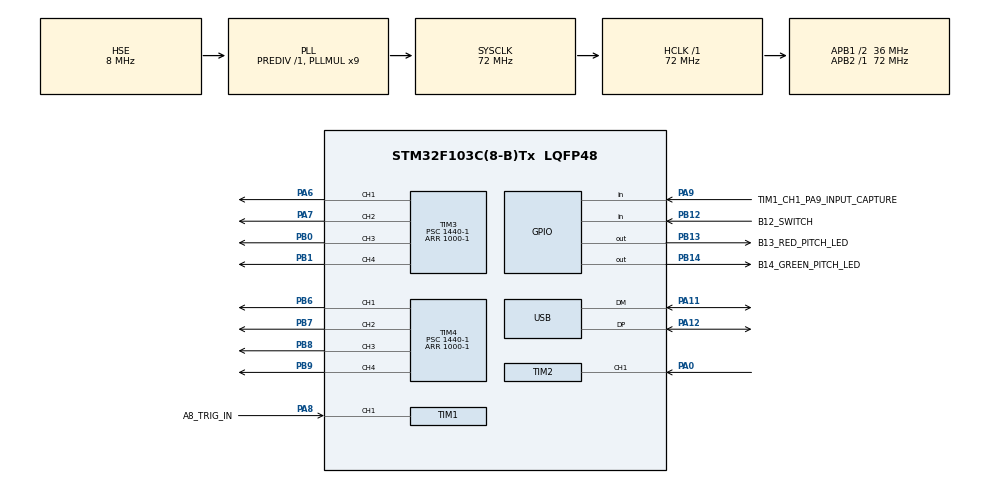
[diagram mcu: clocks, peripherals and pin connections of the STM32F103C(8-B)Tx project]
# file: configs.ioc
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Mcu.Family=STM32F1
Mcu.Name=STM32F103C(8-B)Tx
Mcu.Package=LQFP48
NVIC.PriorityGroup=NVIC_PRIORITYGROUP_4
NVIC.RCC_IRQn=true\:0\:0\:false\:false\:true\:true\:false\:true
NVIC.TIM1_BRK_IRQn=true\:0\:0\:false\:false\:true\:true\:true\:true
NVIC.TIM1_CC_IRQn=true\:0\:0\:false\:false\:true\:true\:true\:true
NVIC.TIM1_TRG_COM_IRQn=true\:0\:0\:false\:false\:true\:true\:true\:true
NVIC.TIM1_UP_IRQn=true\:0\:0\:false\:false\:true\:true\:true\:true
NVIC.TIM2_IRQn=true\:0\:0\:false\:false\:true\:true\:true\:true
NVIC.TIM3_IRQn=true\:0\:0\:false\:false\:true\:true\:true\:true
NVIC.TIM4_IRQn=true\:0\:0\:false\:false\:true\:true\:true\:true
NVIC.USB_HP_CAN1_TX_IRQn=true\:0\:0\:false\:false\:true\:true\:true\:true
NVIC.USB_LP_CAN1_RX0_IRQn=true\:0\:0\:false\:false\:true\:true\:true\:true
PA0-WKUP.Signal=S_TIM2_CH1_ETR
PA11.Mode=Device
PA11.Signal=USB_DM
PA12.Mode=Device
PA12.Signal=USB_DP
PA13.Mode=Serial_Wire
PA13.Signal=SYS_JTMS-SWDIO
PA14.Mode=Serial_Wire
PA14.Signal=SYS_JTCK-SWCLK
PA6.Signal=S_TIM3_CH1
PA7.Signal=S_TIM3_CH2
PA8.GPIO_Label=A8_TRIG_IN
PA8.Signal=S_TIM1_CH1
PA9.GPIO_Label=TIM1_CH1_PA9_INPUT_CAPTURE
PA9.Signal=GPIO_Input
PB0.Signal=S_TIM3_CH3
PB1.Signal=S_TIM3_CH4
PB12.GPIO_Label=B12_SWITCH
PB12.GPIO_PuPd=GPIO_PULLUP
PB12.Signal=GPIO_Input
PB13.GPIO_Label=B13_RED_PITCH_LED
PB13.Signal=GPIO_Output
PB14.GPIO_Label=B14_GREEN_PITCH_LED
PB14.Signal=GPIO_Output
PB6.Signal=S_TIM4_CH1
PB7.Signal=S_TIM4_CH2
PB8.Signal=S_TIM4_CH3
PB9.Signal=S_TIM4_CH4
PD0-OSC_IN.Mode=HSE-External-Oscillator
PD0-OSC_IN.Signal=RCC_OSC_IN
PD1-OSC_OUT.Mode=HSE-External-Oscillator
PD1-OSC_OUT.Signal=RCC_OSC_OUT
ProjectManager.HeapSize=0x200
ProjectManager.StackSize=0x400
ProjectManager.TargetToolchain=STM32CubeIDE
RCC.AHBFreq_Value=72000000
RCC.APB1CLKDivider=RCC_HCLK_DIV2
RCC.APB1Freq_Value=36000000
RCC.APB1TimFreq_Value=72000000
RCC.APB2Freq_Value=72000000
RCC.APB2TimFreq_Value=72000000
RCC.HCLKFreq_Value=72000000
RCC.PLLMUL=RCC_PLL_MUL9
RCC.PLLSourceVirtual=RCC_PLLSOURCE_HSE
RCC.SYSCLKFreq_VALUE=72000000
RCC.SYSCLKSource=RCC_SYSCLKSOURCE_PLLCLK
RCC.USBFreq_Value=48000000
RCC.USBPrescaler=RCC_USBCLKSOURCE_PLL_DIV1_5
SH.S_TIM1_CH1.0=TIM1_CH1,Input_Capture1_from_TI1
SH.S_TIM2_CH1_ETR.0=TIM2_CH1,Input_Capture1_from_TI1
SH.S_TIM3_CH1.0=TIM3_CH1,PWM Generation1 CH1
SH.S_TIM3_CH2.0=TIM3_CH2,PWM Generation2 CH2
SH.S_TIM3_CH3.0=TIM3_CH3,PWM Generation3 CH3
SH.S_TIM3_CH4.0=TIM3_CH4,PWM Generation4 CH4
SH.S_TIM4_CH1.0=TIM4_CH1,PWM Generation1 CH1
SH.S_TIM4_CH2.0=TIM4_CH2,PWM Generation2 CH2
SH.S_TIM4_CH3.0=TIM4_CH3,PWM Generation3 CH3
SH.S_TIM4_CH4.0=TIM4_CH4,PWM Generation4 CH4
TIM1.Channel-Input_Capture1_from_TI1=TIM_CHANNEL_1
TIM1.Period=65536-1
TIM1.Prescaler=0
TIM2.AutoReloadPreload=TIM_AUTORELOAD_PRELOAD_DISABLE
TIM2.Channel-Input_Capture1_from_TI1=TIM_CHANNEL_1
TIM2.Period=65536-1
TIM2.Prescaler=0
TIM3.Channel-PWM\ Generation1\ CH1=TIM_CHANNEL_1
TIM3.Channel-PWM\ Generation2\ CH2=TIM_CHANNEL_2
TIM3.Channel-PWM\ Generation3\ CH3=TIM_CHANNEL_3
TIM3.Channel-PWM\ Generation4\ CH4=TIM_CHANNEL_4
TIM3.Period=1000-1
TIM3.Prescaler=1440-1
TIM3.Pulse-PWM\ Generation1\ CH1=75
TIM4.Channel-PWM\ Generation1\ CH1=TIM_CHANNEL_1
TIM4.Channel-PWM\ Generation2\ CH2=TIM_CHANNEL_2
TIM4.Channel-PWM\ Generation3\ CH3=TIM_CHANNEL_3
TIM4.Channel-PWM\ Generation4\ CH4=TIM_CHANNEL_4
TIM4.Period=1000-1
TIM4.Prescaler=1440-1
USB_DEVICE.CLASS_NAME_FS=CDC
USB_DEVICE.USBD_DEBUG_LEVEL=3
USB_DEVICE.VirtualMode=Cdc
USB_DEVICE.VirtualModeFS=Cdc_FS
VP_TIM1_VS_ClockSourceINT.Mode=Internal
VP_TIM2_VS_ClockSourceINT.Mode=Internal
VP_TIM3_VS_ClockSourceINT.Mode=Internal
VP_TIM4_VS_ClockSourceINT.Mode=Internal
VP_USB_DEVICE_VS_USB_DEVICE_CDC_FS.Mode=CDC_FS
board=custom

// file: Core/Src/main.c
/* USER CODE BEGIN Header */
/**
 ******************************************************************************
 * @file           : main.c
 * @brief          : Main program body
 ******************************************************************************
 * @attention
 *
 * Copyright (c) 2022 STMicroelectronics.
 * All rights reserved.
 *
 * This software is licensed under terms that can be found in the LICENSE file
 * in the root directory of this software component.
 * If no LICENSE file comes with this software, it is provided AS-IS.
 *
 ******************************************************************************
 */
/* USER CODE END Header */
#include "main.h"
#include "usb_device.h"

/* USER CODE BEGIN PTD */
typedef enum note_name {
	NOTE_C, NOTE_D, NOTE_E, NOTE_F, NOTE_G, NOTE_A, NOTE_C2, NOTE_BB
} NOTE_NAME;

typedef struct note {
	NOTE_NAME name;
	uint32_t central_freq;
	int holes_to_play[7];
} NOTE;

/* USER CODE END PTD */

/* USER CODE BEGIN PD */

#define TIMCLOCK   72000000 //This should be valid for all timers. But better check it.
#define PRESCALAR  1 // Input is 0 in Prescalar field in CubeMx

#define bool int
#define true 1
#define false 0
/* USER CODE END PD */

TIM_HandleTypeDef htim1;
TIM_HandleTypeDef htim2;
TIM_HandleTypeDef htim3;
TIM_HandleTypeDef htim4;

/* USER CODE BEGIN PV */
uint32_t IC_val1 = 0;
uint32_t IC_val2 = 0;
uint32_t period_ticks = 0;
int is_first_captured = 0;

float frequency = 0;
uint8_t finished_one_measurement = 0;

const char *timers[3] = { "HTIM_1", "HTIM_2", "WRONG" };
uint8_t current_timer = 0;

const uint32_t PITCH_LOWEST_FREQUENCY = 2000; //2 kHz
//Span 2000 - 4000 Hz
//note span 300
// central frequency - 150 & central_frequency + 149
const uint32_t CTR_FREQ[8] = { 2150, 2450, 2750, 3050, 3350, 3650, 3950, 4250 };

uint32_t pitch_val = { 0 };

const uint32_t BACK_ROW_CLOSE_POS = 25;
const uint32_t BACK_ROW_OPEN_POS = 40;

const uint32_t FRONT_ROW_CLOSE_POS = 40;
const uint32_t FRONT_ROW_OPEN_POS = 25;

//Hard coded notes to play
const NOTE note_c = { .name = NOTE_C, .central_freq = CTR_FREQ[0],
		.holes_to_play = { FRONT_ROW_CLOSE_POS, FRONT_ROW_CLOSE_POS,
				BACK_ROW_CLOSE_POS, FRONT_ROW_CLOSE_POS, BACK_ROW_CLOSE_POS,
				FRONT_ROW_CLOSE_POS, BACK_ROW_CLOSE_POS } };
const NOTE note_d = { .name = NOTE_D, .central_freq = CTR_FREQ[1],
		.holes_to_play = { FRONT_ROW_CLOSE_POS, FRONT_ROW_CLOSE_POS,
				BACK_ROW_CLOSE_POS, FRONT_ROW_CLOSE_POS, BACK_ROW_CLOSE_POS,
				FRONT_ROW_CLOSE_POS, BACK_ROW_OPEN_POS } };
const NOTE note_e = { .name = NOTE_E, .central_freq = CTR_FREQ[2],
		.holes_to_play = { FRONT_ROW_CLOSE_POS, FRONT_ROW_CLOSE_POS,
				BACK_ROW_CLOSE_POS, FRONT_ROW_CLOSE_POS, BACK_ROW_CLOSE_POS,
				FRONT_ROW_OPEN_POS, BACK_ROW_OPEN_POS } };
const NOTE note_f = { .name = NOTE_F, .central_freq = CTR_FREQ[3],
		.holes_to_play = { FRONT_ROW_CLOSE_POS, FRONT_ROW_CLOSE_POS,
				BACK_ROW_CLOSE_POS, FRONT_ROW_CLOSE_POS, BACK_ROW_OPEN_POS,
				FRONT_ROW_CLOSE_POS, BACK_ROW_CLOSE_POS } };
const NOTE note_g = { .name = NOTE_G, .central_freq = CTR_FREQ[4],
		.holes_to_play = { FRONT_ROW_CLOSE_POS, FRONT_ROW_CLOSE_POS,
				BACK_ROW_CLOSE_POS, FRONT_ROW_OPEN_POS, BACK_ROW_OPEN_POS,
				FRONT_ROW_OPEN_POS, BACK_ROW_OPEN_POS } };
const NOTE note_a = { .name = NOTE_A, .central_freq = CTR_FREQ[5],
		.holes_to_play = { FRONT_ROW_CLOSE_POS, FRONT_ROW_CLOSE_POS,
				BACK_ROW_OPEN_POS, FRONT_ROW_OPEN_POS, BACK_ROW_OPEN_POS,
				FRONT_ROW_OPEN_POS, BACK_ROW_OPEN_POS } };
/*Without thumb, this is the same as note A
 * const NOTE note_c2 = { .name = NOTE_C2, .central_freq = CTR_FREQ[6],
		.holes_to_play = { FRONT_ROW_CLOSE_POS, FRONT_ROW_OPEN_POS,
				BACK_ROW_OPEN_POS, FRONT_ROW_OPEN_POS, BACK_ROW_OPEN_POS,
				FRONT_ROW_OPEN_POS, BACK_ROW_OPEN_POS } };*/
const NOTE note_bb = { .name = NOTE_BB, .central_freq = CTR_FREQ[7],
		.holes_to_play = { FRONT_ROW_OPEN_POS, FRONT_ROW_OPEN_POS,
				BACK_ROW_OPEN_POS, FRONT_ROW_OPEN_POS, BACK_ROW_OPEN_POS,
				FRONT_ROW_OPEN_POS, BACK_ROW_OPEN_POS } };

const NOTE all_notes[7] = { note_c, note_d, note_e, note_f, note_g, note_a,
		 note_bb };

NOTE_NAME current_note = NOTE_C;
uint32_t current_note_index = 0;

/* USER CODE END PV */

void SystemClock_Config(void);
static void MX_GPIO_Init(void);
static void MX_TIM2_Init(void);
static void MX_TIM1_Init(void);
static void MX_TIM3_Init(void);
static void MX_TIM4_Init(void);
/* USER CODE BEGIN PFP */
void calibrate_antenna();
void print_to_com_port();
bool is_in_range(int lower_limit, int upper_limit, int number);
void play_music();
void play_all_notes();
void play_all_notes_with_delay();
void test_servos();
void play_note(uint32_t note_to_play_index);
/* USER CODE END PFP */

int main(void) {

	/* MCU Configuration--------------------------------------------------------*/

	/* Reset of all peripherals, Initializes the Flash interface and the Systick. */
	HAL_Init();

	/* Configure the system clock */
	SystemClock_Config();

	/* Initialize all configured peripherals */
	MX_GPIO_Init();
	MX_TIM2_Init();
	MX_TIM1_Init();
	MX_USB_DEVICE_Init();
	MX_TIM3_Init();
	MX_TIM4_Init();
	/* USER CODE BEGIN 2 */

	TIM1->CCR1 = 50;
	//Frequency measurement on TIM1_CHANNEL_1
	//HAL_TIM_IC_Start_IT(&htim1, TIM_CHANNEL_1); //dead pin
	HAL_TIM_IC_Start_IT(&htim2, TIM_CHANNEL_1);

	HAL_TIM_PWM_Start(&htim3, TIM_CHANNEL_1); //closest to AIR (FIRST)
	HAL_TIM_PWM_Start(&htim3, TIM_CHANNEL_2);
	HAL_TIM_PWM_Start(&htim3, TIM_CHANNEL_3);
	HAL_TIM_PWM_Start(&htim3, TIM_CHANNEL_4);

	HAL_TIM_PWM_Start(&htim4, TIM_CHANNEL_1);
	HAL_TIM_PWM_Start(&htim4, TIM_CHANNEL_2);
	HAL_TIM_PWM_Start(&htim4, TIM_CHANNEL_3); //closest to END (LAST)
	HAL_TIM_PWM_Start(&htim4, TIM_CHANNEL_4);

	//Initialize ALL servo-motor positions to closed
	htim3.Instance->CCR1 = FRONT_ROW_CLOSE_POS;
	htim3.Instance->CCR2 = FRONT_ROW_CLOSE_POS;
	htim3.Instance->CCR3 = BACK_ROW_CLOSE_POS;
	htim3.Instance->CCR4 = FRONT_ROW_CLOSE_POS;

	htim4.Instance->CCR1 = BACK_ROW_CLOSE_POS;
	htim4.Instance->CCR2 = FRONT_ROW_CLOSE_POS;
	htim4.Instance->CCR3 = BACK_ROW_CLOSE_POS;
	//htim4.Instance->CCR4 = CLOSE_POS;

	/* USER CODE END 2 */

	/* Infinite loop */
	while (1) {

		/* USER CODE BEGIN 3 */
		//TEST PHASE
		//play_all_notes();
		//play_all_notes_with_delay();
		//test_servos();
		//If switch is in calibrating position, then calibrate antenna.
		/*	if (HAL_GPIO_ReadPin(B12_SWITCH_GPIO_Port, B12_SWITCH_Pin)
		 == GPIO_PIN_SET) {
		 calibrate_antenna();
		 print_to_com_port();
		 }
		 //Play instrument
		 else {*/
		//HAL_GPIO_WritePin(GPIOB, B14_GREEN_PITCH_LED_Pin, GPIO_PIN_RESET);
		//HAL_GPIO_WritePin(GPIOB, B13_RED_PITCH_LED_Pin, GPIO_PIN_RESET);
		if (finished_one_measurement == 1) {
			play_music();
			print_to_com_port();
			//}
		}

	}
	/* USER CODE END 3 */
}

void SystemClock_Config(void) {
	RCC_OscInitTypeDef RCC_OscInitStruct = { 0 };
	RCC_ClkInitTypeDef RCC_ClkInitStruct = { 0 };
	RCC_PeriphCLKInitTypeDef PeriphClkInit = { 0 };

	/** Initializes the RCC Oscillators according to the specified parameters
	 * in the RCC_OscInitTypeDef structure.
	 */
	RCC_OscInitStruct.OscillatorType = RCC_OSCILLATORTYPE_HSE;
	RCC_OscInitStruct.HSEState = RCC_HSE_ON;
	RCC_OscInitStruct.HSEPredivValue = RCC_HSE_PREDIV_DIV1;
	RCC_OscInitStruct.HSIState = RCC_HSI_ON;
	RCC_OscInitStruct.PLL.PLLState = RCC_PLL_ON;
	RCC_OscInitStruct.PLL.PLLSource = RCC_PLLSOURCE_HSE;
	RCC_OscInitStruct.PLL.PLLMUL = RCC_PLL_MUL9;
	if (HAL_RCC_OscConfig(&RCC_OscInitStruct) != HAL_OK) {
		Error_Handler();
	}

	/** Initializes the CPU, AHB and APB buses clocks
	 */
	RCC_ClkInitStruct.ClockType = RCC_CLOCKTYPE_HCLK | RCC_CLOCKTYPE_SYSCLK
			| RCC_CLOCKTYPE_PCLK1 | RCC_CLOCKTYPE_PCLK2;
	RCC_ClkInitStruct.SYSCLKSource = RCC_SYSCLKSOURCE_PLLCLK;
	RCC_ClkInitStruct.AHBCLKDivider = RCC_SYSCLK_DIV1;
	RCC_ClkInitStruct.APB1CLKDivider = RCC_HCLK_DIV2;
	RCC_ClkInitStruct.APB2CLKDivider = RCC_HCLK_DIV1;

	if (HAL_RCC_ClockConfig(&RCC_ClkInitStruct, FLASH_LATENCY_2) != HAL_OK) {
		Error_Handler();
	}
	PeriphClkInit.PeriphClockSelection = RCC_PERIPHCLK_USB;
	PeriphClkInit.UsbClockSelection = RCC_USBCLKSOURCE_PLL_DIV1_5;
	if (HAL_RCCEx_PeriphCLKConfig(&PeriphClkInit) != HAL_OK) {
		Error_Handler();
	}
}

static void MX_TIM1_Init(void) {

	TIM_ClockConfigTypeDef sClockSourceConfig = { 0 };
	TIM_MasterConfigTypeDef sMasterConfig = { 0 };
	TIM_IC_InitTypeDef sConfigIC = { 0 };

	htim1.Instance = TIM1;
	htim1.Init.Prescaler = 0;
	htim1.Init.CounterMode = TIM_COUNTERMODE_UP;
	htim1.Init.Period = 65536 - 1;
	htim1.Init.ClockDivision = TIM_CLOCKDIVISION_DIV1;
	htim1.Init.RepetitionCounter = 0;
	htim1.Init.AutoReloadPreload = TIM_AUTORELOAD_PRELOAD_DISABLE;
	if (HAL_TIM_Base_Init(&htim1) != HAL_OK) {
		Error_Handler();
	}
	sClockSourceConfig.ClockSource = TIM_CLOCKSOURCE_INTERNAL;
	if (HAL_TIM_ConfigClockSource(&htim1, &sClockSourceConfig) != HAL_OK) {
		Error_Handler();
	}
	if (HAL_TIM_IC_Init(&htim1) != HAL_OK) {
		Error_Handler();
	}
	sMasterConfig.MasterOutputTrigger = TIM_TRGO_RESET;
	sMasterConfig.MasterSlaveMode = TIM_MASTERSLAVEMODE_DISABLE;
	if (HAL_TIMEx_MasterConfigSynchronization(&htim1, &sMasterConfig)
			!= HAL_OK) {
		Error_Handler();
	}
	sConfigIC.ICPolarity = TIM_INPUTCHANNELPOLARITY_RISING;
	sConfigIC.ICSelection = TIM_ICSELECTION_DIRECTTI;
	sConfigIC.ICPrescaler = TIM_ICPSC_DIV1;
	sConfigIC.ICFilter = 0;
	if (HAL_TIM_IC_ConfigChannel(&htim1, &sConfigIC, TIM_CHANNEL_1) != HAL_OK) {
		Error_Handler();
	}

}

static void MX_TIM2_Init(void) {

	TIM_ClockConfigTypeDef sClockSourceConfig = { 0 };
	TIM_MasterConfigTypeDef sMasterConfig = { 0 };
	TIM_IC_InitTypeDef sConfigIC = { 0 };

	htim2.Instance = TIM2;
	htim2.Init.Prescaler = 0;
	htim2.Init.CounterMode = TIM_COUNTERMODE_UP;
	htim2.Init.Period = 65536 - 1;
	htim2.Init.ClockDivision = TIM_CLOCKDIVISION_DIV1;
	htim2.Init.AutoReloadPreload = TIM_AUTORELOAD_PRELOAD_DISABLE;
	if (HAL_TIM_Base_Init(&htim2) != HAL_OK) {
		Error_Handler();
	}
	sClockSourceConfig.ClockSource = TIM_CLOCKSOURCE_INTERNAL;
	if (HAL_TIM_ConfigClockSource(&htim2, &sClockSourceConfig) != HAL_OK) {
		Error_Handler();
	}
	if (HAL_TIM_IC_Init(&htim2) != HAL_OK) {
		Error_Handler();
	}
	sMasterConfig.MasterOutputTrigger = TIM_TRGO_RESET;
	sMasterConfig.MasterSlaveMode = TIM_MASTERSLAVEMODE_DISABLE;
	if (HAL_TIMEx_MasterConfigSynchronization(&htim2, &sMasterConfig)
			!= HAL_OK) {
		Error_Handler();
	}
	sConfigIC.ICPolarity = TIM_INPUTCHANNELPOLARITY_RISING;
	sConfigIC.ICSelection = TIM_ICSELECTION_DIRECTTI;
	sConfigIC.ICPrescaler = TIM_ICPSC_DIV1;
	sConfigIC.ICFilter = 0;
	if (HAL_TIM_IC_ConfigChannel(&htim2, &sConfigIC, TIM_CHANNEL_1) != HAL_OK) {
		Error_Handler();
	}

}

static void MX_TIM3_Init(void) {

	TIM_ClockConfigTypeDef sClockSourceConfig = { 0 };
	TIM_MasterConfigTypeDef sMasterConfig = { 0 };
	TIM_OC_InitTypeDef sConfigOC = { 0 };

	htim3.Instance = TIM3;
	htim3.Init.Prescaler = 1440 - 1;
	htim3.Init.CounterMode = TIM_COUNTERMODE_UP;
	htim3.Init.Period = 1000 - 1;
	htim3.Init.ClockDivision = TIM_CLOCKDIVISION_DIV1;
	htim3.Init.AutoReloadPreload = TIM_AUTORELOAD_PRELOAD_DISABLE;
	if (HAL_TIM_Base_Init(&htim3) != HAL_OK) {
		Error_Handler();
	}
	sClockSourceConfig.ClockSource = TIM_CLOCKSOURCE_INTERNAL;
	if (HAL_TIM_ConfigClockSource(&htim3, &sClockSourceConfig) != HAL_OK) {
		Error_Handler();
	}
	if (HAL_TIM_PWM_Init(&htim3) != HAL_OK) {
		Error_Handler();
	}
	sMasterConfig.MasterOutputTrigger = TIM_TRGO_RESET;
	sMasterConfig.MasterSlaveMode = TIM_MASTERSLAVEMODE_DISABLE;
	if (HAL_TIMEx_MasterConfigSynchronization(&htim3, &sMasterConfig)
			!= HAL_OK) {
		Error_Handler();
	}
	sConfigOC.OCMode = TIM_OCMODE_PWM1;
	sConfigOC.Pulse = 75;
	sConfigOC.OCPolarity = TIM_OCPOLARITY_HIGH;
	sConfigOC.OCFastMode = TIM_OCFAST_DISABLE;
	if (HAL_TIM_PWM_ConfigChannel(&htim3, &sConfigOC, TIM_CHANNEL_1)
			!= HAL_OK) {
		Error_Handler();
	}
	sConfigOC.Pulse = 0;
	if (HAL_TIM_PWM_ConfigChannel(&htim3, &sConfigOC, TIM_CHANNEL_2)
			!= HAL_OK) {
		Error_Handler();
	}
	if (HAL_TIM_PWM_ConfigChannel(&htim3, &sConfigOC, TIM_CHANNEL_3)
			!= HAL_OK) {
		Error_Handler();
	}
	if (HAL_TIM_PWM_ConfigChannel(&htim3, &sConfigOC, TIM_CHANNEL_4)
			!= HAL_OK) {
		Error_Handler();
	}
	HAL_TIM_MspPostInit(&htim3);

}

static void MX_TIM4_Init(void) {

	TIM_ClockConfigTypeDef sClockSourceConfig = { 0 };
	TIM_MasterConfigTypeDef sMasterConfig = { 0 };
	TIM_OC_InitTypeDef sConfigOC = { 0 };

	htim4.Instance = TIM4;
	htim4.Init.Prescaler = 1440 - 1;
	htim4.Init.CounterMode = TIM_COUNTERMODE_UP;
	htim4.Init.Period = 1000 - 1;
	htim4.Init.ClockDivision = TIM_CLOCKDIVISION_DIV1;
	htim4.Init.AutoReloadPreload = TIM_AUTORELOAD_PRELOAD_DISABLE;
	if (HAL_TIM_Base_Init(&htim4) != HAL_OK) {
		Error_Handler();
	}
	sClockSourceConfig.ClockSource = TIM_CLOCKSOURCE_INTERNAL;
	if (HAL_TIM_ConfigClockSource(&htim4, &sClockSourceConfig) != HAL_OK) {
		Error_Handler();
	}
	if (HAL_TIM_PWM_Init(&htim4) != HAL_OK) {
		Error_Handler();
	}
	sMasterConfig.MasterOutputTrigger = TIM_TRGO_RESET;
	sMasterConfig.MasterSlaveMode = TIM_MASTERSLAVEMODE_DISABLE;
	if (HAL_TIMEx_MasterConfigSynchronization(&htim4, &sMasterConfig)
			!= HAL_OK) {
		Error_Handler();
	}
	sConfigOC.OCMode = TIM_OCMODE_PWM1;
	sConfigOC.Pulse = 0;
	sConfigOC.OCPolarity = TIM_OCPOLARITY_HIGH;
	sConfigOC.OCFastMode = TIM_OCFAST_DISABLE;
	if (HAL_TIM_PWM_ConfigChannel(&htim4, &sConfigOC, TIM_CHANNEL_1)
			!= HAL_OK) {
		Error_Handler();
	}
	if (HAL_TIM_PWM_ConfigChannel(&htim4, &sConfigOC, TIM_CHANNEL_2)
			!= HAL_OK) {
		Error_Handler();
	}
	if (HAL_TIM_PWM_ConfigChannel(&htim4, &sConfigOC, TIM_CHANNEL_3)
			!= HAL_OK) {
		Error_Handler();
	}
	if (HAL_TIM_PWM_ConfigChannel(&htim4, &sConfigOC, TIM_CHANNEL_4)
			!= HAL_OK) {
		Error_Handler();
	}
	HAL_TIM_MspPostInit(&htim4);

}

static void MX_GPIO_Init(void) {
	GPIO_InitTypeDef GPIO_InitStruct = { 0 };

	/* GPIO Ports Clock Enable */
	__HAL_RCC_GPIOD_CLK_ENABLE();
	__HAL_RCC_GPIOA_CLK_ENABLE();
	__HAL_RCC_GPIOB_CLK_ENABLE();

	/*Configure GPIO pin Output Level */
	HAL_GPIO_WritePin(GPIOB, B13_RED_PITCH_LED_Pin | B14_GREEN_PITCH_LED_Pin,
			GPIO_PIN_RESET);

	/*Configure GPIO pin : B12_SWITCH_Pin */
	GPIO_InitStruct.Pin = B12_SWITCH_Pin;
	GPIO_InitStruct.Mode = GPIO_MODE_INPUT;
	GPIO_InitStruct.Pull = GPIO_PULLUP;
	HAL_GPIO_Init(B12_SWITCH_GPIO_Port, &GPIO_InitStruct);

	/*Configure GPIO pins : B13_RED_PITCH_LED_Pin B14_GREEN_PITCH_LED_Pin */
	GPIO_InitStruct.Pin = B13_RED_PITCH_LED_Pin | B14_GREEN_PITCH_LED_Pin;
	GPIO_InitStruct.Mode = GPIO_MODE_OUTPUT_PP;
	GPIO_InitStruct.Pull = GPIO_NOPULL;
	GPIO_InitStruct.Speed = GPIO_SPEED_FREQ_LOW;
	HAL_GPIO_Init(GPIOB, &GPIO_InitStruct);

	/*Configure GPIO pin : TIM1_CH1_PA9_INPUT_CAPTURE_Pin */
	GPIO_InitStruct.Pin = TIM1_CH1_PA9_INPUT_CAPTURE_Pin;
	GPIO_InitStruct.Mode = GPIO_MODE_INPUT;
	GPIO_InitStruct.Pull = GPIO_NOPULL;
	HAL_GPIO_Init(TIM1_CH1_PA9_INPUT_CAPTURE_GPIO_Port, &GPIO_InitStruct);

}

/* USER CODE BEGIN 4 */

void calibrate_antenna() {
	if (is_in_range(PITCH_LOWEST_FREQUENCY, PITCH_LOWEST_FREQUENCY + 300,
			frequency)) {
		HAL_GPIO_WritePin(GPIOB, B14_GREEN_PITCH_LED_Pin, GPIO_PIN_SET);
		HAL_Delay(10);
		HAL_GPIO_WritePin(GPIOB, B13_RED_PITCH_LED_Pin, GPIO_PIN_RESET);
		HAL_Delay(10);
	} else {
		//Turn OFF GREEN LED, turn ON RED LED for PITCH
		HAL_GPIO_WritePin(GPIOB, B14_GREEN_PITCH_LED_Pin, GPIO_PIN_RESET);
		HAL_Delay(10);
		HAL_GPIO_WritePin(GPIOB, B13_RED_PITCH_LED_Pin, GPIO_PIN_SET);
		HAL_Delay(10);
	}

}
bool is_in_range(int lower_limit, int upper_limit, int number) {
	return (lower_limit <= number && number <= upper_limit);
}

void play_note(uint32_t note_to_play_index) {
	//HAL_TIM_IC_Stop_IT(&htim1, TIM_CHANNEL_1);
	//HAL_TIM_IC_Stop_IT(&htim2, TIM_CHANNEL_1);
	//is_first_captured = 0;

	htim3.Instance->CCR1 = all_notes[note_to_play_index].holes_to_play[0];
	htim3.Instance->CCR2 = all_notes[note_to_play_index].holes_to_play[1];
	htim3.Instance->CCR3 = all_notes[note_to_play_index].holes_to_play[2];
	htim3.Instance->CCR4 = all_notes[note_to_play_index].holes_to_play[3];

	htim4.Instance->CCR1 = all_notes[note_to_play_index].holes_to_play[4];
	htim4.Instance->CCR2 = all_notes[note_to_play_index].holes_to_play[5];
	htim4.Instance->CCR3 = all_notes[note_to_play_index].holes_to_play[6];

	//SHORT DELAY
	HAL_Delay(200);
	//HAL_TIM_IC_Start_IT(&htim1, TIM_CHANNEL_1);
	//HAL_TIM_IC_Start_IT(&htim2, TIM_CHANNEL_1);
}
void test_servos() {
	/*	for (int i = 25; i<=100; i=i+20){

	 htim3.Instance->CCR1 = OPEN_POS;
	 htim3.Instance->CCR2 = OPEN_POS;
	 htim3.Instance->CCR3 = OPEN_POS;
	 htim3.Instance->CCR4 = OPEN_POS;

	 htim4.Instance->CCR1 = OPEN_POS;
	 htim4.Instance->CCR2 = OPEN_POS;
	 htim4.Instance->CCR3 = OPEN_POS;
	 HAL_Delay(500);
	 }
	 */

	htim3.Instance->CCR1 = FRONT_ROW_CLOSE_POS;
	htim3.Instance->CCR2 = FRONT_ROW_CLOSE_POS;
	htim3.Instance->CCR3 = BACK_ROW_CLOSE_POS;
	htim3.Instance->CCR4 = FRONT_ROW_CLOSE_POS;

	htim4.Instance->CCR1 = BACK_ROW_CLOSE_POS;
	htim4.Instance->CCR2 = FRONT_ROW_CLOSE_POS;
	htim4.Instance->CCR3 = BACK_ROW_CLOSE_POS;
	HAL_Delay(100);

	htim3.Instance->CCR1 = FRONT_ROW_OPEN_POS;
	htim3.Instance->CCR2 = FRONT_ROW_OPEN_POS;
	htim3.Instance->CCR3 = BACK_ROW_OPEN_POS;
	htim3.Instance->CCR4 = FRONT_ROW_OPEN_POS;

	htim4.Instance->CCR1 = BACK_ROW_OPEN_POS;
	htim4.Instance->CCR2 = FRONT_ROW_OPEN_POS;
	htim4.Instance->CCR3 = BACK_ROW_OPEN_POS;
	HAL_Delay(100);
}
void play_all_notes() {
	for (int i = 0; i < 7; i++) {
		play_note(i);
	}
}
void play_all_notes_with_delay() {
	for (int i = 0; i < 7; i++) {
		play_note(i);
		HAL_Delay(2000);
	}
}
void play_music() {
	const uint32_t DWN = 100;
	const uint32_t UP = 100;

	/*if (frequency < (CTR_FREQ[0] - 500)) {
		return;
	}*/
	/*== NOTE C ==*/
	if (is_in_range(CTR_FREQ[0] - DWN, CTR_FREQ[0] + UP, frequency) == true) {
		current_note = NOTE_C;
		current_note_index = 0;
	}
	/*== NOTE D ==*/
	else if (is_in_range(CTR_FREQ[1] - DWN, CTR_FREQ[1] + UP, frequency) == true) {
		current_note = NOTE_D;
		current_note_index = 1;
	}
	/*== NOTE E ==*/
	else if (is_in_range(CTR_FREQ[2] - DWN, CTR_FREQ[2] + UP, frequency) == true) {
		current_note = NOTE_E;
		current_note_index = 2;
	}
	/*== NOTE F ==*/
	else if (is_in_range(CTR_FREQ[3] - DWN, CTR_FREQ[3] + UP, frequency) == true) {
		current_note = NOTE_F;
		current_note_index = 3;
	}
	/*== NOTE G ==*/
	else if (is_in_range(CTR_FREQ[4] - DWN, CTR_FREQ[4] + UP, frequency) == true) {
		current_note = NOTE_G;
		current_note_index = 4;
	}
	/*== NOTE A ==*/
	else if (is_in_range(CTR_FREQ[5] - DWN, CTR_FREQ[5] + UP, frequency) == true) {
		current_note = NOTE_A;
		current_note_index = 5;
	}
	/*== NOTE BB ==*/
	else if (is_in_range(CTR_FREQ[7] - DWN, CTR_FREQ[7] + UP, frequency) == true) {
		current_note = NOTE_BB;
		current_note_index = 6;
	}

	play_note(current_note_index);

}
void print_to_com_port() {
	char buffer[100];
	sprintf(buffer, "%f;%lu;%s \r\n", frequency, period_ticks,
			timers[current_timer]);
	CDC_Transmit_FS((uint8_t*) buffer, strlen(buffer));

}
void print_note_to_com_port() {
	char buffer[50];
	sprintf(buffer, "%%lu \r\n", all_notes[current_note]);
	CDC_Transmit_FS((uint8_t*) buffer, strlen(buffer));
}
void HAL_TIM_IC_CaptureCallback(TIM_HandleTypeDef *htim) {
	if (htim == &htim1) {
		current_timer = 0;
	} else if (htim == &htim2) {
		current_timer = 1;
	} else {
		current_timer = 2;
	}
	if (htim->Channel == HAL_TIM_ACTIVE_CHANNEL_1) {

		if (is_first_captured == 0) // if the first rising edge is not captured
				{
			finished_one_measurement = 0;
			IC_val1 = HAL_TIM_ReadCapturedValue(htim, TIM_CHANNEL_1); // read the first value
			is_first_captured = 1;  // set the first captured as true

		}

		else // If the first rising edge is captured, now we will capture the second edge
		{
			IC_val2 = HAL_TIM_ReadCapturedValue(htim, TIM_CHANNEL_1); // read second value

			if (IC_val2 > IC_val1) {
				period_ticks = IC_val2 - IC_val1;
			}

			else if (IC_val1 > IC_val2) {
				period_ticks = (0xffffffff - IC_val1) + IC_val2; //0xffffffff = 4 294 967 295
			}

			float refClock = TIMCLOCK / (PRESCALAR);

			frequency = refClock / period_ticks;

			__HAL_TIM_SET_COUNTER(htim, 0);  // reset the counter
			is_first_captured = 0; // set it back to false

			finished_one_measurement = 1;
		}
	}
}

/* USER CODE END 4 */

void Error_Handler(void) {
	__disable_irq();
	while (1) {
	}
}
